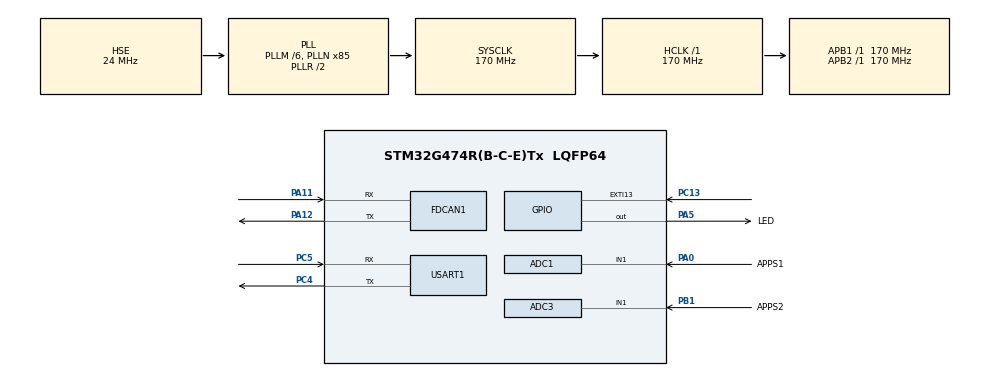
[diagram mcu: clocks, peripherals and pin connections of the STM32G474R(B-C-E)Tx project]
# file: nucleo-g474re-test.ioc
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ADC1.Channel-0\#ChannelRegularConversion=ADC_CHANNEL_1
ADC1.NbrOfConversionFlag=1
ADC1.OffsetNumber-0\#ChannelRegularConversion=ADC_OFFSET_NONE
ADC1.Rank-0\#ChannelRegularConversion=1
ADC1.SamplingTime-0\#ChannelRegularConversion=ADC_SAMPLETIME_2CYCLES_5
ADC1.master=1
ADC3.Channel-0\#ChannelRegularConversion=ADC_CHANNEL_1
ADC3.NbrOfConversionFlag=1
ADC3.OffsetNumber-0\#ChannelRegularConversion=ADC_OFFSET_NONE
ADC3.Rank-0\#ChannelRegularConversion=1
ADC3.SamplingTime-0\#ChannelRegularConversion=ADC_SAMPLETIME_2CYCLES_5
ADC3.master=1
FDCAN1.CalculateBaudRateNominal=3541666
FDCAN1.CalculateTimeBitNominal=282
FDCAN1.CalculateTimeQuantumNominal=94.11764705882354
Mcu.Family=STM32G4
Mcu.Name=STM32G474R(B-C-E)Tx
Mcu.Package=LQFP64
NUCLEO-G474RE.BUTTON=1
NUCLEO-G474RE.Bsp_Common_DEMO=true
NUCLEO-G474RE.LD2=true
NUCLEO-G474RE.VCP=true
NVIC.EXTI15_10_IRQn=true\:0\:0\:false\:false\:true\:true\:true\:true
NVIC.PriorityGroup=NVIC_PRIORITYGROUP_4
PA0.GPIO_Label=APPS1
PA0.Mode=IN1-Single-Ended
PA0.Signal=ADC1_IN1
PA11.Mode=FDCAN_Activate
PA11.Signal=FDCAN1_RX
PA12.Mode=FDCAN_Activate
PA12.Signal=FDCAN1_TX
PA13.GPIO_Label=T_SWDIO
PA13.Mode=Trace_Asynchronous_SW
PA13.Signal=SYS_JTMS-SWDIO
PA14.GPIO_Label=T_SWCLK
PA14.Mode=Trace_Asynchronous_SW
PA14.Signal=SYS_JTCK-SWCLK
PA2.Signal=LPUART1_TX
PA3.Signal=LPUART1_RX
PA5.GPIO_Label=LED
PA5.GPIO_ModeDefaultOutputPP=GPIO_MODE_OUTPUT_OD
PA5.GPIO_PuPd=GPIO_NOPULL
PA5.PinState=GPIO_PIN_SET
PA5.Signal=GPIO_Output
PB1.GPIO_Label=APPS2
PB1.Mode=IN1-Single-Ended
PB1.Signal=ADC3_IN1
PB3.GPIO_Label=T_SWO
PB3.Mode=Trace_Asynchronous_SW
PB3.Signal=SYS_JTDO-SWO
PC13.Signal=GPXTI13
PC14-OSC32_IN.GPIO_Label=RCC_OSC32_IN
PC14-OSC32_IN.Signal=RCC_OSC32_IN
PC15-OSC32_OUT.GPIO_Label=RCC_OSC32_OUT
PC15-OSC32_OUT.Signal=RCC_OSC32_OUT
PC4.Mode=Asynchronous
PC4.Signal=USART1_TX
PC5.Mode=Asynchronous
PC5.Signal=USART1_RX
PF0-OSC_IN.GPIO_Label=RCC_OSC_IN
PF0-OSC_IN.Mode=HSE-External-Oscillator
PF0-OSC_IN.Signal=RCC_OSC_IN
PF1-OSC_OUT.GPIO_Label=RCC_OSC_OUT
PF1-OSC_OUT.Mode=HSE-External-Oscillator
PF1-OSC_OUT.Signal=RCC_OSC_OUT
ProjectManager.HeapSize=0x200
ProjectManager.StackSize=0x400
ProjectManager.TargetToolchain=STM32CubeIDE
RCC.ADC12Freq_Value=170000000
RCC.ADC345Freq_Value=170000000
RCC.AHBFreq_Value=170000000
RCC.APB1Freq_Value=170000000
RCC.APB1TimFreq_Value=170000000
RCC.APB2Freq_Value=170000000
RCC.APB2TimFreq_Value=170000000
RCC.CortexFreq_Value=170000000
RCC.EXTERNAL_CLOCK_VALUE=12288000
RCC.HCLKFreq_Value=170000000
RCC.HSE_VALUE=24000000
RCC.HSI48_VALUE=48000000
RCC.HSI_VALUE=16000000
RCC.LSE_VALUE=32768
RCC.PLLM=RCC_PLLM_DIV6
RCC.PLLN=85
RCC.PLLSourceVirtual=RCC_PLLSOURCE_HSE
RCC.RTCClockSelection=RCC_RTCCLKSOURCE_LSE
RCC.SYSCLKFreq_VALUE=170000000
RCC.SYSCLKSource=RCC_SYSCLKSOURCE_PLLCLK
RCC.USBFreq_Value=170000000
RCC.VCOOutputFreq_Value=340000000
USART1.VirtualMode-Asynchronous=VM_ASYNC
VP_NUCLEO-G474RE_VS_BSP_COMMON.Mode=COMMON
VP_SYS_VS_DBSignals.Mode=DisableDeadBatterySignals
board=NUCLEO-G474RE

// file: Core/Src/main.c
/* USER CODE BEGIN Header */
/**
  ******************************************************************************
  * @file           : main.c
  * @brief          : Main program body
  ******************************************************************************
  * @attention
  *
  * Copyright (c) 2025 STMicroelectronics.
  * All rights reserved.
  *
  * This software is licensed under terms that can be found in the LICENSE file
  * in the root directory of this software component.
  * If no LICENSE file comes with this software, it is provided AS-IS.
  *
  ******************************************************************************
  */
/* USER CODE END Header */
#include "main.h"

/* USER CODE BEGIN Includes */
#include <inttypes.h>
/* USER CODE END Includes */

COM_InitTypeDef BspCOMInit;
__IO uint32_t BspButtonState = BUTTON_RELEASED;
ADC_HandleTypeDef hadc1;
ADC_HandleTypeDef hadc3;

FDCAN_HandleTypeDef hfdcan1;

UART_HandleTypeDef huart1;

void SystemClock_Config(void);
static void MX_GPIO_Init(void);
static void MX_USART1_UART_Init(void);
static void MX_FDCAN1_Init(void);
static void MX_ADC1_Init(void);
static void MX_ADC3_Init(void);

int main(void)
{

  /* MCU Configuration--------------------------------------------------------*/

  /* Reset of all peripherals, Initializes the Flash interface and the Systick. */
  HAL_Init();

  /* Configure the system clock */
  SystemClock_Config();

  /* Initialize all configured peripherals */
  MX_GPIO_Init();
  MX_USART1_UART_Init();
  MX_FDCAN1_Init();
  MX_ADC1_Init();
  MX_ADC3_Init();

  /* Initialize led */
  BSP_LED_Init(LED_GREEN);

  /* Initialize USER push-button, will be used to trigger an interrupt each time it's pressed.*/
  BSP_PB_Init(BUTTON_USER, BUTTON_MODE_EXTI);

  /* Initialize COM1 port (115200, 8 bits (7-bit data + 1 stop bit), no parity */
  BspCOMInit.BaudRate   = 115200;
  BspCOMInit.WordLength = COM_WORDLENGTH_8B;
  BspCOMInit.StopBits   = COM_STOPBITS_1;
  BspCOMInit.Parity     = COM_PARITY_NONE;
  BspCOMInit.HwFlowCtl  = COM_HWCONTROL_NONE;
  if (BSP_COM_Init(COM1, &BspCOMInit) != BSP_ERROR_NONE)
  {
    Error_Handler();
  }

  /* USER CODE BEGIN BSP */

  /* -- Sample board code to send message over COM1 port ---- */
  printf("Welcome to STM32 world !\n\r");

  /* -- Sample board code to switch on led ---- */
  BSP_LED_On(LED_GREEN);

  /* USER CODE END BSP */

  /* Infinite loop */
  /* USER CODE BEGIN WHILE */
  int counter = 0;
  uint32_t apps1Pos, apps2Pos, appsAvgPos;
  HAL_ADCEx_Calibration_Start(&hadc1, ADC_SINGLE_ENDED);
  HAL_ADCEx_Calibration_Start(&hadc3, ADC_SINGLE_ENDED);
  while (1)
  {
    /* -- Sample board code for User push-button in interrupt mode ---- */
    if (BspButtonState == BUTTON_PRESSED)
    {
      /* Update button state */
      BspButtonState = BUTTON_RELEASED;
      /* -- Sample board code to toggle led ---- */
      BSP_LED_Toggle(LED_GREEN);

      /* ..... Perform your action ..... */
      counter += 1;
      printf("button pressed %d times!\n", counter);
    }
    /* USER CODE END WHILE */

    /* USER CODE BEGIN 3 */
    HAL_ADC_Start(&hadc1);
    HAL_ADC_PollForConversion(&hadc1, 1);
    apps1Pos = HAL_ADC_GetValue(&hadc1);
    HAL_ADC_Start(&hadc3);
    HAL_ADC_PollForConversion(&hadc3, 1);
    apps2Pos = HAL_ADC_GetValue(&hadc3);

    // magic value is 2133
    uint32_t diff = apps2Pos - apps1Pos;
    if (diff <= 2133 - 410 || diff > 2133 + 410 ) {
    	appsAvgPos = 0;
    } else {
    	if (apps2Pos + apps1Pos < 2133) {
    		appsAvgPos = 0;
    	} else {
        	appsAvgPos = (apps2Pos + apps1Pos - 2133) / 2;
    	}
    }

    printf("HI:4095,LO:0,APPS1:%" PRIu32 ",APPS2:%" PRIu32 ",REAL:%" PRIu32 "\n", apps1Pos, apps2Pos, appsAvgPos);
    HAL_Delay(1);
  }
  /* USER CODE END 3 */
}

void SystemClock_Config(void)
{
  RCC_OscInitTypeDef RCC_OscInitStruct = {0};
  RCC_ClkInitTypeDef RCC_ClkInitStruct = {0};

  /** Configure the main internal regulator output voltage
  */
  HAL_PWREx_ControlVoltageScaling(PWR_REGULATOR_VOLTAGE_SCALE1_BOOST);

  /** Initializes the RCC Oscillators according to the specified parameters
  * in the RCC_OscInitTypeDef structure.
  */
  RCC_OscInitStruct.OscillatorType = RCC_OSCILLATORTYPE_HSE;
  RCC_OscInitStruct.HSEState = RCC_HSE_ON;
  RCC_OscInitStruct.PLL.PLLState = RCC_PLL_ON;
  RCC_OscInitStruct.PLL.PLLSource = RCC_PLLSOURCE_HSE;
  RCC_OscInitStruct.PLL.PLLM = RCC_PLLM_DIV6;
  RCC_OscInitStruct.PLL.PLLN = 85;
  RCC_OscInitStruct.PLL.PLLP = RCC_PLLP_DIV2;
  RCC_OscInitStruct.PLL.PLLQ = RCC_PLLQ_DIV2;
  RCC_OscInitStruct.PLL.PLLR = RCC_PLLR_DIV2;
  if (HAL_RCC_OscConfig(&RCC_OscInitStruct) != HAL_OK)
  {
    Error_Handler();
  }

  /** Initializes the CPU, AHB and APB buses clocks
  */
  RCC_ClkInitStruct.ClockType = RCC_CLOCKTYPE_HCLK|RCC_CLOCKTYPE_SYSCLK
                              |RCC_CLOCKTYPE_PCLK1|RCC_CLOCKTYPE_PCLK2;
  RCC_ClkInitStruct.SYSCLKSource = RCC_SYSCLKSOURCE_PLLCLK;
  RCC_ClkInitStruct.AHBCLKDivider = RCC_SYSCLK_DIV1;
  RCC_ClkInitStruct.APB1CLKDivider = RCC_HCLK_DIV1;
  RCC_ClkInitStruct.APB2CLKDivider = RCC_HCLK_DIV1;

  if (HAL_RCC_ClockConfig(&RCC_ClkInitStruct, FLASH_LATENCY_4) != HAL_OK)
  {
    Error_Handler();
  }
}

static void MX_ADC1_Init(void)
{

  ADC_MultiModeTypeDef multimode = {0};
  ADC_ChannelConfTypeDef sConfig = {0};

  /** Common config
  */
  hadc1.Instance = ADC1;
  hadc1.Init.ClockPrescaler = ADC_CLOCK_SYNC_PCLK_DIV4;
  hadc1.Init.Resolution = ADC_RESOLUTION_12B;
  hadc1.Init.DataAlign = ADC_DATAALIGN_RIGHT;
  hadc1.Init.GainCompensation = 0;
  hadc1.Init.ScanConvMode = ADC_SCAN_DISABLE;
  hadc1.Init.EOCSelection = ADC_EOC_SINGLE_CONV;
  hadc1.Init.LowPowerAutoWait = DISABLE;
  hadc1.Init.ContinuousConvMode = DISABLE;
  hadc1.Init.NbrOfConversion = 1;
  hadc1.Init.DiscontinuousConvMode = DISABLE;
  hadc1.Init.ExternalTrigConv = ADC_SOFTWARE_START;
  hadc1.Init.ExternalTrigConvEdge = ADC_EXTERNALTRIGCONVEDGE_NONE;
  hadc1.Init.DMAContinuousRequests = DISABLE;
  hadc1.Init.Overrun = ADC_OVR_DATA_PRESERVED;
  hadc1.Init.OversamplingMode = DISABLE;
  if (HAL_ADC_Init(&hadc1) != HAL_OK)
  {
    Error_Handler();
  }

  /** Configure the ADC multi-mode
  */
  multimode.Mode = ADC_MODE_INDEPENDENT;
  if (HAL_ADCEx_MultiModeConfigChannel(&hadc1, &multimode) != HAL_OK)
  {
    Error_Handler();
  }

  /** Configure Regular Channel
  */
  sConfig.Channel = ADC_CHANNEL_1;
  sConfig.Rank = ADC_REGULAR_RANK_1;
  sConfig.SamplingTime = ADC_SAMPLETIME_2CYCLES_5;
  sConfig.SingleDiff = ADC_SINGLE_ENDED;
  sConfig.OffsetNumber = ADC_OFFSET_NONE;
  sConfig.Offset = 0;
  if (HAL_ADC_ConfigChannel(&hadc1, &sConfig) != HAL_OK)
  {
    Error_Handler();
  }

}

static void MX_ADC3_Init(void)
{

  ADC_MultiModeTypeDef multimode = {0};
  ADC_ChannelConfTypeDef sConfig = {0};

  /** Common config
  */
  hadc3.Instance = ADC3;
  hadc3.Init.ClockPrescaler = ADC_CLOCK_SYNC_PCLK_DIV4;
  hadc3.Init.Resolution = ADC_RESOLUTION_12B;
  hadc3.Init.DataAlign = ADC_DATAALIGN_RIGHT;
  hadc3.Init.GainCompensation = 0;
  hadc3.Init.ScanConvMode = ADC_SCAN_DISABLE;
  hadc3.Init.EOCSelection = ADC_EOC_SINGLE_CONV;
  hadc3.Init.LowPowerAutoWait = DISABLE;
  hadc3.Init.ContinuousConvMode = DISABLE;
  hadc3.Init.NbrOfConversion = 1;
  hadc3.Init.DiscontinuousConvMode = DISABLE;
  hadc3.Init.ExternalTrigConv = ADC_SOFTWARE_START;
  hadc3.Init.ExternalTrigConvEdge = ADC_EXTERNALTRIGCONVEDGE_NONE;
  hadc3.Init.DMAContinuousRequests = DISABLE;
  hadc3.Init.Overrun = ADC_OVR_DATA_PRESERVED;
  hadc3.Init.OversamplingMode = DISABLE;
  if (HAL_ADC_Init(&hadc3) != HAL_OK)
  {
    Error_Handler();
  }

  /** Configure the ADC multi-mode
  */
  multimode.Mode = ADC_MODE_INDEPENDENT;
  if (HAL_ADCEx_MultiModeConfigChannel(&hadc3, &multimode) != HAL_OK)
  {
    Error_Handler();
  }

  /** Configure Regular Channel
  */
  sConfig.Channel = ADC_CHANNEL_1;
  sConfig.Rank = ADC_REGULAR_RANK_1;
  sConfig.SamplingTime = ADC_SAMPLETIME_2CYCLES_5;
  sConfig.SingleDiff = ADC_SINGLE_ENDED;
  sConfig.OffsetNumber = ADC_OFFSET_NONE;
  sConfig.Offset = 0;
  if (HAL_ADC_ConfigChannel(&hadc3, &sConfig) != HAL_OK)
  {
    Error_Handler();
  }

}

static void MX_FDCAN1_Init(void)
{

  hfdcan1.Instance = FDCAN1;
  hfdcan1.Init.ClockDivider = FDCAN_CLOCK_DIV1;
  hfdcan1.Init.FrameFormat = FDCAN_FRAME_CLASSIC;
  hfdcan1.Init.Mode = FDCAN_MODE_NORMAL;
  hfdcan1.Init.AutoRetransmission = DISABLE;
  hfdcan1.Init.TransmitPause = DISABLE;
  hfdcan1.Init.ProtocolException = DISABLE;
  hfdcan1.Init.NominalPrescaler = 16;
  hfdcan1.Init.NominalSyncJumpWidth = 1;
  hfdcan1.Init.NominalTimeSeg1 = 1;
  hfdcan1.Init.NominalTimeSeg2 = 1;
  hfdcan1.Init.DataPrescaler = 1;
  hfdcan1.Init.DataSyncJumpWidth = 1;
  hfdcan1.Init.DataTimeSeg1 = 1;
  hfdcan1.Init.DataTimeSeg2 = 1;
  hfdcan1.Init.StdFiltersNbr = 0;
  hfdcan1.Init.ExtFiltersNbr = 0;
  hfdcan1.Init.TxFifoQueueMode = FDCAN_TX_FIFO_OPERATION;
  if (HAL_FDCAN_Init(&hfdcan1) != HAL_OK)
  {
    Error_Handler();
  }

}

static void MX_USART1_UART_Init(void)
{

  huart1.Instance = USART1;
  huart1.Init.BaudRate = 115200;
  huart1.Init.WordLength = UART_WORDLENGTH_8B;
  huart1.Init.StopBits = UART_STOPBITS_1;
  huart1.Init.Parity = UART_PARITY_NONE;
  huart1.Init.Mode = UART_MODE_TX_RX;
  huart1.Init.HwFlowCtl = UART_HWCONTROL_NONE;
  huart1.Init.OverSampling = UART_OVERSAMPLING_16;
  huart1.Init.OneBitSampling = UART_ONE_BIT_SAMPLE_DISABLE;
  huart1.Init.ClockPrescaler = UART_PRESCALER_DIV1;
  huart1.AdvancedInit.AdvFeatureInit = UART_ADVFEATURE_NO_INIT;
  if (HAL_UART_Init(&huart1) != HAL_OK)
  {
    Error_Handler();
  }
  if (HAL_UARTEx_SetTxFifoThreshold(&huart1, UART_TXFIFO_THRESHOLD_1_8) != HAL_OK)
  {
    Error_Handler();
  }
  if (HAL_UARTEx_SetRxFifoThreshold(&huart1, UART_RXFIFO_THRESHOLD_1_8) != HAL_OK)
  {
    Error_Handler();
  }
  if (HAL_UARTEx_DisableFifoMode(&huart1) != HAL_OK)
  {
    Error_Handler();
  }

}

static void MX_GPIO_Init(void)
{
  GPIO_InitTypeDef GPIO_InitStruct = {0};

  /* GPIO Ports Clock Enable */
  __HAL_RCC_GPIOC_CLK_ENABLE();
  __HAL_RCC_GPIOF_CLK_ENABLE();
  __HAL_RCC_GPIOA_CLK_ENABLE();
  __HAL_RCC_GPIOB_CLK_ENABLE();

  /*Configure GPIO pin Output Level */
  HAL_GPIO_WritePin(LED_GPIO_Port, LED_Pin, GPIO_PIN_SET);

  /*Configure GPIO pin : LED_Pin */
  GPIO_InitStruct.Pin = LED_Pin;
  GPIO_InitStruct.Mode = GPIO_MODE_OUTPUT_OD;
  GPIO_InitStruct.Pull = GPIO_NOPULL;
  GPIO_InitStruct.Speed = GPIO_SPEED_FREQ_LOW;
  HAL_GPIO_Init(LED_GPIO_Port, &GPIO_InitStruct);

}

/**
  * @brief BSP Push Button callback
  * @param Button Specifies the pressed button
  * @retval None
  */
void BSP_PB_Callback(Button_TypeDef Button)
{
  if (Button == BUTTON_USER)
  {
    BspButtonState = BUTTON_PRESSED;
  }
}

void Error_Handler(void)
{
  __disable_irq();
  while (1)
  {
  }
}
